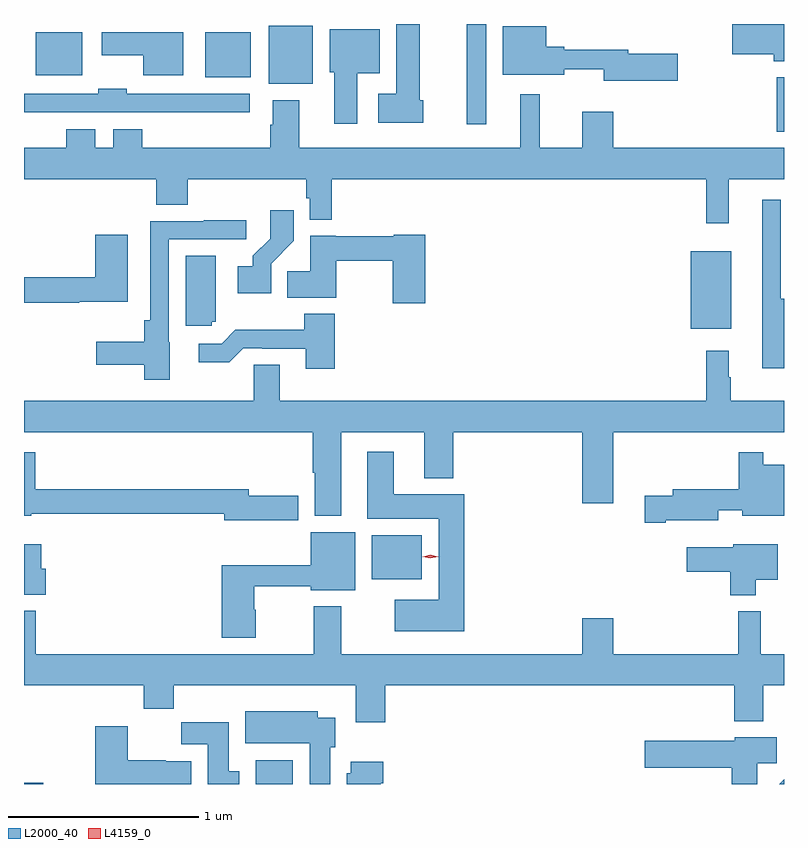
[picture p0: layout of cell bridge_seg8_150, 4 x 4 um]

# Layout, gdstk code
import gdstk
lib = gdstk.Library(unit=1e-6, precision=1e-09)
def R(c, l, rs):  # rectangles x0, y0, x1, y1
    for r in rs: c.add(gdstk.rectangle(r[:2], r[2:], *l))
def P(c, l, *ps):  # polygons
    for p in ps: c.add(gdstk.Polygon(p, *l))
L2000_40 = (2000, 40)
L4159_0 = (4159, 0)

bridge_seg8_150 = lib.new_cell('bridge_seg8_150')
R(bridge_seg8_150, L2000_40, [(509.722,1157.272,509.824,1157.278), (510.941,1157.272,511.137,1157.398), (511.553,1158.35,511.816,1158.58), (513.23,1159.667,513.445,1160.077), (513.683,1160.706,513.722,1160.991), (512.051,1160.745,512.155,1161.272), (511.01,1160.957,511.243,1161.262), (510.677,1160.993,510.916,1161.229), (509.783,1161.002,510.028,1161.229)])
P(bridge_seg8_150, L2000_40, [(513.722,1161.272),(513.45,1161.272),(513.45,1161.113),(513.668,1161.113),(513.668,1161.076),(513.722,1161.076)],
  [(511.822,1160.871),(511.804,1160.871),(511.804,1161.272),(511.682,1161.272),(511.682,1160.905),(511.587,1160.905),(511.587,1160.753),(511.822,1160.753)],
  [(513.163,1161.116),(512.902,1161.116),(512.902,1161.137),(512.566,1161.137),(512.566,1161.152),(512.47,1161.152),(512.47,1161.259),(512.243,1161.259),(512.243,1161.005),(512.566,1161.005),(512.566,1161.034),(512.774,1161.034),(512.774,1160.974),(513.163,1160.974)],
  [(511.477,1161.014),(511.594,1161.014),(511.594,1161.244),(511.331,1161.244),(511.331,1161.018),(511.355,1161.018),(511.355,1160.748),(511.477,1160.748)],
  [(510.559,1161.229),(510.132,1161.229),(510.132,1161.107),(510.35,1161.107),(510.35,1161.002),(510.559,1161.002)],
  [(509.861,1160.808),(510.364,1160.808),(510.364,1160.807),(510.91,1160.807),(510.91,1160.904),(510.264,1160.904),(510.264,1160.932),(510.114,1160.932),(510.114,1160.904),(509.722,1160.904),(509.722,1160.807),(509.861,1160.807)],
  [(510.191,1160.719),(510.191,1160.62),(510.097,1160.62),(510.097,1160.719),(509.945,1160.719),(509.945,1160.62),(509.722,1160.62),(509.722,1160.456),(510.419,1160.456),(510.419,1160.32),(510.584,1160.32),(510.584,1160.456),(511.207,1160.456),(511.207,1160.355),(511.227,1160.355),(511.227,1160.243),(511.343,1160.243),(511.343,1160.456),(513.313,1160.456),(513.313,1160.223),(513.431,1160.223),(513.431,1160.456),(513.722,1160.456),(513.722,1160.62),(512.824,1160.62),(512.824,1160.809),(512.66,1160.809),(512.66,1160.62),(512.437,1160.62),(512.437,1160.902),(512.333,1160.902),(512.333,1160.62),(511.171,1160.62),(511.171,1160.872),(511.031,1160.872),(511.031,1160.741),(511.019,1160.741),(511.019,1160.62),(510.344,1160.62),(510.344,1160.719)],
  [(513.722,1159.825),(513.705,1159.825),(513.705,1160.347),(513.608,1160.347),(513.608,1159.46),(513.722,1159.46)],
  [(511.023,1160.011),(511.142,1160.13),(511.142,1160.293),(511.017,1160.293),(511.017,1160.141),(510.926,1160.051),(510.926,1159.996),(510.846,1159.996),(510.846,1159.856),(511.023,1159.856)],
  [(510.49,1159.596),(510.483,1159.596),(510.483,1160.139),(510.892,1160.139),(510.892,1160.238),(510.667,1160.238),(510.667,1160.235),(510.387,1160.235),(510.387,1159.714),(510.354,1159.714),(510.354,1159.6),(510.102,1159.6),(510.102,1159.478),(510.354,1159.478),(510.354,1159.4),(510.49,1159.4)],
  [(510.014,1159.811),(510.268,1159.811),(510.268,1160.164),(510.098,1160.164),(510.098,1159.94),(509.722,1159.94),(509.722,1159.804),(510.014,1159.804)],
  [(511.835,1160.163),(511.668,1160.163),(511.668,1160.155),(511.362,1160.155),(511.362,1160.158),(511.229,1160.158),(511.229,1159.97),(511.108,1159.97),(511.108,1159.832),(511.366,1159.832),(511.366,1160.026),(511.664,1160.026),(511.664,1159.803),(511.835,1159.803)],
  [(510.711,1159.704),(510.73,1159.704),(510.73,1160.053),(510.572,1160.053),(510.572,1159.683),(510.711,1159.683)],
  [(511.358,1159.747),(511.198,1159.747),(511.198,1159.663),(510.835,1159.663),(510.762,1159.59),(510.642,1159.59),(510.642,1159.493),(510.803,1159.493),(510.876,1159.566),(510.976,1159.566),(510.976,1159.563),(511.205,1159.563),(511.205,1159.458),(511.358,1159.458)],
  [(511.069,1159.478),(510.93,1159.478),(510.93,1159.288),(509.722,1159.288),(509.722,1159.124),(511.241,1159.124),(511.241,1158.909),(511.253,1158.909),(511.253,1158.683),(511.393,1158.683),(511.393,1159.124),(511.829,1159.124),(511.829,1158.881),(511.982,1158.881),(511.982,1159.124),(512.66,1159.124),(512.66,1158.75),(512.824,1158.75),(512.824,1159.124),(513.722,1159.124),(513.722,1159.288),(513.442,1159.288),(513.442,1159.412),(513.43,1159.412),(513.43,1159.552),(513.313,1159.552),(513.313,1159.288),(511.069,1159.288)],
  [(512.039,1158.796),(511.669,1158.796),(511.669,1159.021),(511.529,1159.021),(511.529,1158.668),(511.904,1158.668),(511.904,1158.241),(511.674,1158.241),(511.674,1158.077),(512.039,1158.077)],
  [(513.1,1158.659),(513.376,1158.659),(513.376,1158.713),(513.503,1158.713),(513.503,1158.683),(513.722,1158.683),(513.722,1158.952),(513.613,1158.952),(513.613,1159.018),(513.484,1159.018),(513.484,1158.823),(513.137,1158.823),(513.137,1158.789),(512.988,1158.789),(512.988,1158.647),(513.1,1158.647)],
  [(511.165,1158.789),(510.904,1158.789),(510.904,1158.823),(509.78,1158.823),(509.78,1159.018),(509.722,1159.018),(509.722,1158.683),(509.761,1158.683),(509.761,1158.694),(510.776,1158.694),(510.776,1158.659),(511.165,1158.659)],
  [(510.942,1158.189),(510.934,1158.189),(510.934,1158.312),(511.232,1158.312),(511.232,1158.293),(511.465,1158.293),(511.465,1158.598),(511.232,1158.598),(511.232,1158.423),(510.764,1158.423),(510.764,1158.041),(510.942,1158.041)],
  [(509.837,1158.405),(509.812,1158.405),(509.812,1158.535),(509.722,1158.535),(509.722,1158.269),(509.837,1158.269)],
  [(513.574,1158.347),(513.688,1158.347),(513.688,1158.535),(513.456,1158.535),(513.456,1158.517),(513.21,1158.517),(513.21,1158.388),(513.44,1158.388),(513.44,1158.266),(513.574,1158.266)],
  [(511.622,1157.792),(513.461,1157.792),(513.461,1157.603),(513.613,1157.603),(513.613,1157.792),(513.722,1157.792),(513.722,1157.956),(513.599,1157.956),(513.599,1158.181),(513.481,1158.181),(513.481,1157.956),(512.824,1157.956),(512.824,1158.145),(512.66,1158.145),(512.66,1157.956),(511.393,1157.956),(511.393,1158.208),(511.246,1158.208),(511.246,1157.956),(509.783,1157.956),(509.783,1158.184),(509.722,1158.184),(509.722,1157.792),(510.353,1157.792),(510.353,1157.668),(510.509,1157.668),(510.509,1157.792),(511.469,1157.792),(511.469,1157.598),(511.622,1157.598)],
  [(511.333,1157.466),(511.36,1157.466),(511.36,1157.62),(511.267,1157.62),(511.267,1157.656),(510.887,1157.656),(510.887,1157.486),(511.226,1157.486),(511.226,1157.272),(511.333,1157.272)],
  [(510.856,1157.34),(510.799,1157.34),(510.799,1157.598),(510.55,1157.598),(510.55,1157.48),(510.689,1157.48),(510.689,1157.272),(510.856,1157.272)],
  [(510.601,1157.392),(510.468,1157.392),(510.468,1157.398),(510.268,1157.398),(510.268,1157.575),(510.098,1157.575),(510.098,1157.272),(510.601,1157.272)],
  [(513.58,1157.38),(513.685,1157.38),(513.685,1157.518),(513.462,1157.518),(513.462,1157.499),(512.988,1157.499),(512.988,1157.357),(513.446,1157.357),(513.446,1157.272),(513.58,1157.272)],
  [(511.6,1157.276),(511.613,1157.276),(511.613,1157.389),(511.442,1157.389),(511.442,1157.328),(511.421,1157.328),(511.421,1157.272),(511.6,1157.272)],
  [(513.722,1157.296),(513.698,1157.272),(513.722,1157.272)])
P(bridge_seg8_150, L4159_0, [(511.86,1158.459),(511.82,1158.468),(511.819,1158.469),(511.82,1158.469),(511.86,1158.479),(511.901,1158.469),(511.901,1158.469),(511.901,1158.468)])

lib.write_gds('bridge_seg8_150.gds')
